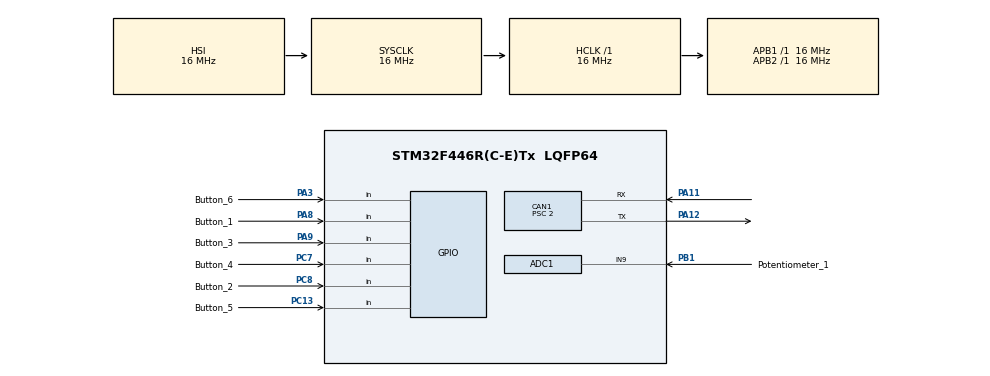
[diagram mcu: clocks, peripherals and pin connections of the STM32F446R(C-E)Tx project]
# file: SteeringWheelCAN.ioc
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Mcu.Family=STM32F4
PH0-OSC_IN.Signal=RCC_OSC_IN
RCC.CortexFreq_Value=16000000
PA11.Mode=CAN_Activate
PA11.GPIO_PuPd=GPIO_PULLUP
PC13.GPIO_Label=Button_5
ProjectManager.StackSize=0x400
PA12.Signal=CAN1_TX
NVIC.CAN1_TX_IRQn=true\:0\:0\:false\:false\:true\:true\:true
RCC.HCLKFreq_Value=16000000
RCC.APB2TimFreq_Value=16000000
PC7.Signal=GPIO_Input
RCC.AHBFreq_Value=16000000
PH0-OSC_IN.Mode=HSE-External-Oscillator
RCC.HSE_VALUE=16000000
PB3.Mode=JTAG_5_pins
PA15.Mode=JTAG_5_pins
PB4.Mode=JTAG_5_pins
PA14.Mode=JTAG_5_pins
PB1.GPIO_Label=Potentiometer_1
PA8.Signal=GPIO_Input
PH1-OSC_OUT.Mode=HSE-External-Oscillator
CAN1.Prescaler=2
Mcu.Package=LQFP64
PB1.Signal=ADCx_IN9
PA15.Signal=SYS_JTDI
SH.ADCx_IN9.0=ADC1_IN9,IN9
RCC.APB1TimFreq_Value=16000000
PA12.GPIO_PuPd=GPIO_NOPULL
CAN1.CalculateTimeBit=2000.00
PB4.Signal=SYS_JTRST
PA3.Signal=GPIO_Input
CAN1.CalculateTimeQuantum=125.0
ADC1.Channel-10\#ChannelRegularConversion=ADC_CHANNEL_9
RCC.PLLSourceVirtual=RCC_PLLSOURCE_HSE
ADC1.Rank-10\#ChannelRegularConversion=1
PC13.Signal=GPIO_Input
PA9.GPIO_Label=Button_3
CAN1.CalculateBaudRate=500000
PC8.Signal=GPIO_Input
PC8.GPIO_Label=Button_2
PA13.Signal=SYS_JTMS-SWDIO
PA8.GPIO_Label=Button_1
CAN1.BS2=CAN_BS2_2TQ
CAN1.BS1=CAN_BS1_13TQ
ProjectManager.TargetToolchain=STM32CubeIDE
PA9.Signal=GPIO_Input
RCC.USBFreq_Value=50000000
board=custom
RCC.VCOOutputFreq_Value=100000000
RCC.APB2Freq_Value=16000000
PH1-OSC_OUT.Signal=RCC_OSC_OUT
ADC1.SamplingTime-10\#ChannelRegularConversion=ADC_SAMPLETIME_3CYCLES
PA13.Mode=JTAG_5_pins
Mcu.Name=STM32F446R(C-E)Tx
PC7.GPIO_Label=Button_4
PB3.Signal=SYS_JTDO-SWO
RCC.SYSCLKFreq_VALUE=16000000
ADC1.master=1
PA12.Mode=CAN_Activate
PA11.Signal=CAN1_RX
PA14.Signal=SYS_JTCK-SWCLK
ProjectManager.HeapSize=0x200
NVIC.PriorityGroup=NVIC_PRIORITYGROUP_4
ADC1.NbrOfConversionFlag=1
RCC.PLLM=8
RCC.PLLN=50
RCC.APB1Freq_Value=16000000
PA3.GPIO_Label=Button_6

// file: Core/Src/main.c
/* USER CODE BEGIN Header */
/**
 ******************************************************************************
 * @file           : main.c
 * @brief          : Main program body
 ******************************************************************************
 * @attention
 *
 * <h2><center>&copy; Copyright (c) 2020 STMicroelectronics.
 * All rights reserved.</center></h2>
 *
 * This software component is licensed by ST under BSD 3-Clause license,
 * the "License"; You may not use this file except in compliance with the
 * License. You may obtain a copy of the License at:
 *                        opensource.org/licenses/BSD-3-Clause
 *
 ******************************************************************************
 */
/* USER CODE END Header */
#include "main.h"
#include "adc.h"
#include "can.h"
#include "gpio.h"

/* USER CODE BEGIN Includes */
#include "sw.h"
#include "string.h"
/* USER CODE END Includes */

/* USER CODE BEGIN PV */
uint32_t txMailbox; // this mailbox is used for transmitting can messages
SW_handle_S swHandle;
/* USER CODE END PV */

void SystemClock_Config(void);
/* USER CODE BEGIN PFP */
void sendCanMessage(CAN_Msg_S *canMessage);
/* USER CODE END PFP */

int main(void)
{

  /* MCU Configuration--------------------------------------------------------*/

  /* Reset of all peripherals, Initializes the Flash interface and the Systick. */
  HAL_Init();

  /* Configure the system clock */
  SystemClock_Config();

  /* USER CODE BEGIN SysInit */
  SW_init(&swHandle, sendCanMessage, HAL_GetTick);
  /* USER CODE END SysInit */

  /* Initialize all configured peripherals */
  MX_GPIO_Init();
  MX_ADC1_Init();
  MX_CAN1_Init();
  /* USER CODE BEGIN 2 */

	//start CAN
	while (HAL_CAN_Start(&hcan1) != HAL_OK) {
	}

  /* USER CODE END 2 */

  /* Infinite loop */
  /* USER CODE BEGIN WHILE */

	while (1) {
		SW_handler(&swHandle);
    /* USER CODE END WHILE */

	}
}

void SystemClock_Config(void)
{
  RCC_OscInitTypeDef RCC_OscInitStruct = {0};
  RCC_ClkInitTypeDef RCC_ClkInitStruct = {0};

  /** Configure the main internal regulator output voltage
  */
  __HAL_RCC_PWR_CLK_ENABLE();
  __HAL_PWR_VOLTAGESCALING_CONFIG(PWR_REGULATOR_VOLTAGE_SCALE3);
  /** Initializes the RCC Oscillators according to the specified parameters
  * in the RCC_OscInitTypeDef structure.
  */
  RCC_OscInitStruct.OscillatorType = RCC_OSCILLATORTYPE_HSI;
  RCC_OscInitStruct.HSIState = RCC_HSI_ON;
  RCC_OscInitStruct.HSICalibrationValue = RCC_HSICALIBRATION_DEFAULT;
  RCC_OscInitStruct.PLL.PLLState = RCC_PLL_NONE;
  if (HAL_RCC_OscConfig(&RCC_OscInitStruct) != HAL_OK)
  {
    Error_Handler();
  }
  /** Initializes the CPU, AHB and APB buses clocks
  */
  RCC_ClkInitStruct.ClockType = RCC_CLOCKTYPE_HCLK|RCC_CLOCKTYPE_SYSCLK
                              |RCC_CLOCKTYPE_PCLK1|RCC_CLOCKTYPE_PCLK2;
  RCC_ClkInitStruct.SYSCLKSource = RCC_SYSCLKSOURCE_HSI;
  RCC_ClkInitStruct.AHBCLKDivider = RCC_SYSCLK_DIV1;
  RCC_ClkInitStruct.APB1CLKDivider = RCC_HCLK_DIV1;
  RCC_ClkInitStruct.APB2CLKDivider = RCC_HCLK_DIV1;

  if (HAL_RCC_ClockConfig(&RCC_ClkInitStruct, FLASH_LATENCY_0) != HAL_OK)
  {
    Error_Handler();
  }
}

/* USER CODE BEGIN 4 */
void sendCanMessage(CAN_Msg_S *canMessage) {

	CAN_TxHeaderTypeDef pHeader; //declare a specific header for message transmittions
	uint8_t aData[8]; //declare byte to be transmitted //declare a receive byte

	pHeader.StdId = canMessage->id;
	pHeader.ExtId = 0x00;
	pHeader.IDE = CAN_ID_STD;
	pHeader.RTR = CAN_RTR_DATA;
	pHeader.DLC = canMessage->len;
	pHeader.TransmitGlobalTime = DISABLE;

	memcpy(aData, canMessage->data, 8);

	HAL_StatusTypeDef result = HAL_CAN_AddTxMessage(&hcan1, &pHeader, aData, &txMailbox); //function to add message for transmition
	int a;

	HAL_Delay(100); // give time for a message to be sent
}
/* USER CODE END 4 */

void Error_Handler(void)
{
  /* USER CODE BEGIN Error_Handler_Debug */
	/* User can add his own implementation to report the HAL error return state */
	;
  /* USER CODE END Error_Handler_Debug */
}

/************************ (C) COPYRIGHT STMicroelectronics *****END OF FILE****/
